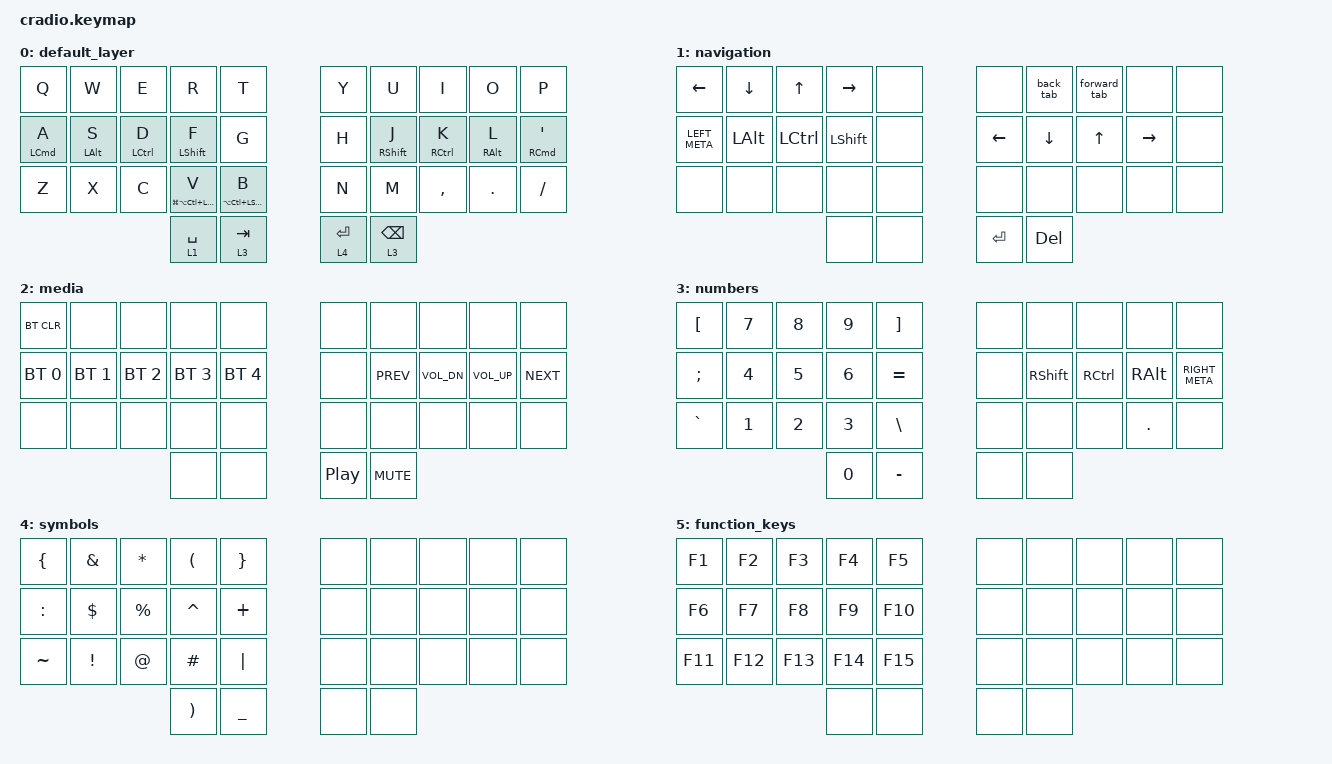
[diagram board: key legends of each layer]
/*
 * Copyright (c) 2020 The ZMK Contributors
 *
 * SPDX-License-Identifier: MIT
 */

#include <behaviors.dtsi>
#include <dt-bindings/zmk/keys.h>
#include <dt-bindings/zmk/bt.h>// Layer Definitions
#define DEFAULT 0
#define NAVI 1
#define MEDIA 2
#define NUM 3
#define SYM 4
#define FN 5

/ {
    behaviors {
        hm: homerow_mods {
            compatible = "zmk,behavior-hold-tap";
            label = "HOMEROW_MODS";
            #binding-cells = <2>;
            tapping_term_ms = <200>;
            flavor = "tap-preferred";
            bindings =
                <&kp>,
                <&kp>;
        };
    };

    combos {
        compatible = "zmk,combos";

        jk_Escape {
            bindings = <&kp ESCAPE>;
            key-positions = <16 17>;
            layers = <0>;
        };

        sticky_layer_2 {
            bindings = <&sl 2>;
            key-positions = <30 31>;
        };

        sticky_layer_5 {
            bindings = <&sl 5>;
            key-positions = <32 33>;
        };
    };

    macros {
        back_tab: back_tab {
            compatible = "zmk,behavior-macro";
            label = "new_macro";
            #binding-cells = <0>;
            bindings =
                <&macro_press>,
                <&kp LEFT_CONTROL>,
                <&macro_press>,
                <&kp LEFT_SHIFT>,
                <&macro_tap>,
                <&kp TAB>,
                <&macro_release>,
                <&kp LEFT_SHIFT>,
                <&macro_release>,
                <&kp LEFT_CONTROL>;
        };
        forward_tab: forward_tab {
            compatible = "zmk,behavior-macro";
            label = "new_macro";
            #binding-cells = <0>;
            bindings =
                <&macro_press>,
                <&kp LEFT_CONTROL>,
                <&macro_tap>,
                <&kp TAB>,
                <&macro_release>,
                <&kp LEFT_CONTROL>;
        };
    };

    keymap {
        compatible = "zmk,keymap";

        default_layer {
            bindings = <
              &kp Q           &kp W               &kp E             &kp R                     &kp T        &kp Y              &kp U                &kp I            &kp O                         &kp P
 &hm LEFT_COMMAND A  &hm LEFT_ALT S  &hm LEFT_CONTROL D  &hm LEFT_SHIFT F  &kp G        &kp H  &hm RIGHT_SHIFT J  &hm RIGHT_CONTROL K  &hm RIGHT_ALT L  &hm RIGHT_COMMAND APOSTROPHE
              &kp Z           &kp X               &kp C             &hm LG(LA(LC(LSHIFT))) V      &hm LA(LC(LSHIFT)) B        &kp N              &kp M            &kp COMMA          &kp DOT                     &kp SLASH
                                                              &lt 1 SPACE                 &lt 3 TAB  &lt 4 ENTER         &lt 3 BSPC
            >;
        };

        navigation {
            bindings = <
      &kp LEFT      &kp DOWN            &kp UP       &kp RIGHT   &none      &none  &back_tab  &forward_tab      &none   &none
 &kp LEFT_META  &kp LEFT_ALT  &kp LEFT_CONTROL  &kp LEFT_SHIFT   &none   &kp LEFT   &kp DOWN        &kp UP  &kp RIGHT   &none
         &none         &none             &none           &none   &none      &none      &none         &none      &none   &none
                                                         &none   &none  &kp ENTER    &kp DEL
            >;
        };

        media {
            bindings = <
   &bt BT_CLR         &none         &none         &none         &none             &none       &none         &none         &none       &none
 &bt BT_SEL 0  &bt BT_SEL 1  &bt BT_SEL 2  &bt BT_SEL 3  &bt BT_SEL 4             &none  &kp C_PREV  &kp C_VOL_DN  &kp C_VOL_UP  &kp C_NEXT
        &none         &none         &none         &none         &none             &none       &none         &none         &none       &none
                                                  &none         &none  &kp C_PLAY_PAUSE  &kp C_MUTE
            >;
        };

        numbers {
            bindings = <
  &kp LBKT  &kp N7  &kp N8  &kp N9   &kp RBKT   &none            &none              &none          &none           &none
  &kp SEMI  &kp N4  &kp N5  &kp N6  &kp EQUAL   &none  &kp RIGHT_SHIFT  &kp RIGHT_CONTROL  &kp RIGHT_ALT  &kp RIGHT_META
 &kp GRAVE  &kp N1  &kp N2  &kp N3   &kp BSLH   &none            &none              &none        &kp DOT           &none
                            &kp N0  &kp MINUS   &none            &none
            >;
        };

        symbols {
            bindings = <
  &kp LBRC  &kp AMPS   &kp STAR   &kp LPAR        &kp RBRC   &none   &none   &none   &none   &none
 &kp COLON  &kp DLLR  &kp PRCNT  &kp CARET        &kp PLUS   &none   &none   &none   &none   &none
 &kp TILDE  &kp EXCL     &kp AT   &kp HASH        &kp PIPE   &none   &none   &none   &none   &none
                                  &kp RPAR  &kp UNDERSCORE   &none   &none
            >;
        };

        function_keys {
            bindings = <
  &kp F1   &kp F2   &kp F3   &kp F4   &kp F5   &none   &none   &none   &none   &none
  &kp F6   &kp F7   &kp F8   &kp F9  &kp F10   &none   &none   &none   &none   &none
 &kp F11  &kp F12  &kp F13  &kp F14  &kp F15   &none   &none   &none   &none   &none
                              &none    &none   &none   &none
            >;
        };
    };
};
